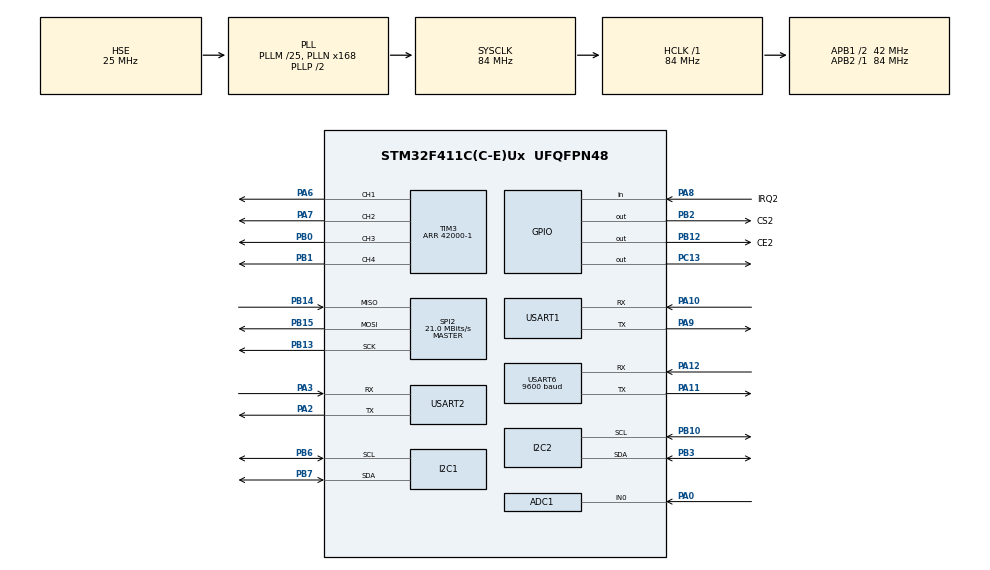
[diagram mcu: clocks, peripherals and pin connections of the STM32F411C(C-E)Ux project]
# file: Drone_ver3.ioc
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ADC1.Channel-0\#ChannelRegularConversion=ADC_CHANNEL_0
ADC1.NbrOfConversionFlag=1
ADC1.Rank-0\#ChannelRegularConversion=1
ADC1.SamplingTime-0\#ChannelRegularConversion=ADC_SAMPLETIME_3CYCLES
ADC1.master=1
Dma.ADC1.0.Direction=DMA_PERIPH_TO_MEMORY
Dma.ADC1.0.FIFOMode=DMA_FIFOMODE_DISABLE
Dma.ADC1.0.Instance=DMA2_Stream0
Dma.ADC1.0.MemDataAlignment=DMA_MDATAALIGN_HALFWORD
Dma.ADC1.0.MemInc=DMA_MINC_ENABLE
Dma.ADC1.0.Mode=DMA_NORMAL
Dma.ADC1.0.PeriphDataAlignment=DMA_PDATAALIGN_HALFWORD
Dma.ADC1.0.PeriphInc=DMA_PINC_DISABLE
Dma.ADC1.0.Priority=DMA_PRIORITY_LOW
Dma.Request0=ADC1
Dma.Request1=USART1_RX
Dma.USART1_RX.1.Direction=DMA_PERIPH_TO_MEMORY
Dma.USART1_RX.1.FIFOMode=DMA_FIFOMODE_DISABLE
Dma.USART1_RX.1.Instance=DMA2_Stream2
Dma.USART1_RX.1.MemDataAlignment=DMA_MDATAALIGN_BYTE
Dma.USART1_RX.1.MemInc=DMA_MINC_ENABLE
Dma.USART1_RX.1.Mode=DMA_NORMAL
Dma.USART1_RX.1.PeriphDataAlignment=DMA_PDATAALIGN_BYTE
Dma.USART1_RX.1.PeriphInc=DMA_PINC_DISABLE
Dma.USART1_RX.1.Priority=DMA_PRIORITY_LOW
FREERTOS.Tasks01=defaultTask,0,128,StartDefaultTask,Default,NULL,Dynamic,NULL,NULL
FREERTOS.configUSE_NEWLIB_REENTRANT=1
Mcu.Family=STM32F4
Mcu.Name=STM32F411C(C-E)Ux
Mcu.Package=UFQFPN48
NVIC.ADC_IRQn=true\:5\:0\:false\:false\:true\:true\:true\:true\:true
NVIC.DMA2_Stream0_IRQn=true\:5\:0\:false\:false\:true\:true\:false\:true\:true
NVIC.DMA2_Stream2_IRQn=true\:5\:0\:false\:false\:true\:true\:false\:true\:true
NVIC.PriorityGroup=NVIC_PRIORITYGROUP_4
NVIC.TIM1_UP_TIM10_IRQn=true\:15\:0\:false\:false\:true\:false\:false\:true\:true
NVIC.TimeBase=TIM1_UP_TIM10_IRQn
NVIC.TimeBaseIP=TIM1
NVIC.USART1_IRQn=true\:5\:0\:false\:false\:true\:true\:true\:true\:true
NVIC.USART2_IRQn=true\:5\:0\:false\:false\:true\:true\:true\:true\:true
NVIC.USART6_IRQn=true\:5\:0\:false\:false\:true\:true\:true\:true\:true
PA0-WKUP.Signal=ADCx_IN0
PA10.Mode=Asynchronous
PA10.Signal=USART1_RX
PA11.Mode=Asynchronous
PA11.Signal=USART6_TX
PA12.Mode=Asynchronous
PA12.Signal=USART6_RX
PA13.Mode=Serial_Wire
PA13.Signal=SYS_JTMS-SWDIO
PA14.Mode=Serial_Wire
PA14.Signal=SYS_JTCK-SWCLK
PA2.Mode=Asynchronous
PA2.Signal=USART2_TX
PA3.Mode=Asynchronous
PA3.Signal=USART2_RX
PA6.Signal=S_TIM3_CH1
PA7.Signal=S_TIM3_CH2
PA8.GPIO_Label=IRQ2
PA8.GPIO_PuPd=GPIO_PULLUP
PA8.Signal=GPIO_Input
PA9.Mode=Asynchronous
PA9.Signal=USART1_TX
PB0.Signal=S_TIM3_CH3
PB1.Signal=S_TIM3_CH4
PB10.Mode=I2C
PB10.Signal=I2C2_SCL
PB12.GPIO_Label=CE2
PB12.Signal=GPIO_Output
PB13.Mode=Full_Duplex_Master
PB13.Signal=SPI2_SCK
PB14.Mode=Full_Duplex_Master
PB14.Signal=SPI2_MISO
PB15.Mode=Full_Duplex_Master
PB15.Signal=SPI2_MOSI
PB2.GPIO_Label=CS2
PB2.Signal=GPIO_Output
PB3.Mode=I2C
PB3.Signal=I2C2_SDA
PB6.Mode=I2C
PB6.Signal=I2C1_SCL
PB7.Mode=I2C
PB7.Signal=I2C1_SDA
PC13-ANTI_TAMP.Signal=GPIO_Output
PH0\ -\ OSC_IN.Mode=HSE-External-Oscillator
PH0\ -\ OSC_IN.Signal=RCC_OSC_IN
PH1\ -\ OSC_OUT.Mode=HSE-External-Oscillator
PH1\ -\ OSC_OUT.Signal=RCC_OSC_OUT
ProjectManager.HeapSize=0x200
ProjectManager.StackSize=0x400
ProjectManager.TargetToolchain=STM32CubeIDE
RCC.48MHZClocksFreq_Value=42000000
RCC.AHBFreq_Value=84000000
RCC.APB1CLKDivider=RCC_HCLK_DIV2
RCC.APB1Freq_Value=42000000
RCC.APB1TimFreq_Value=84000000
RCC.APB2Freq_Value=84000000
RCC.APB2TimFreq_Value=84000000
RCC.CortexFreq_Value=84000000
RCC.HCLKFreq_Value=84000000
RCC.HSE_VALUE=25000000
RCC.HSI_VALUE=16000000
RCC.LSE_VALUE=32768
RCC.PLLM=25
RCC.PLLN=168
RCC.PLLSourceVirtual=RCC_PLLSOURCE_HSE
RCC.SYSCLKFreq_VALUE=84000000
RCC.SYSCLKSource=RCC_SYSCLKSOURCE_PLLCLK
RCC.VCOOutputFreq_Value=168000000
SH.ADCx_IN0.0=ADC1_IN0,IN0
SH.S_TIM3_CH1.0=TIM3_CH1,PWM Generation1 CH1
SH.S_TIM3_CH2.0=TIM3_CH2,PWM Generation2 CH2
SH.S_TIM3_CH3.0=TIM3_CH3,PWM Generation3 CH3
SH.S_TIM3_CH4.0=TIM3_CH4,PWM Generation4 CH4
SPI2.BaudRatePrescaler=SPI_BAUDRATEPRESCALER_2
SPI2.CalculateBaudRate=21.0 MBits/s
SPI2.Direction=SPI_DIRECTION_2LINES
SPI2.Mode=SPI_MODE_MASTER
SPI2.VirtualType=VM_MASTER
TIM3.Channel-PWM\ Generation1\ CH1=TIM_CHANNEL_1
TIM3.Channel-PWM\ Generation2\ CH2=TIM_CHANNEL_2
TIM3.Channel-PWM\ Generation3\ CH3=TIM_CHANNEL_3
TIM3.Channel-PWM\ Generation4\ CH4=TIM_CHANNEL_4
TIM3.Period=42000-1
USART1.VirtualMode=VM_ASYNC
USART2.VirtualMode=VM_ASYNC
USART6.BaudRate=9600
USART6.VirtualMode=VM_ASYNC
VP_FREERTOS_VS_CMSIS_V1.Mode=CMSIS_V1
VP_SYS_VS_tim1.Mode=TIM1
board=custom

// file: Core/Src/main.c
/* USER CODE BEGIN Header */
/**
 ******************************************************************************
 * @file           : main.c
 * @brief          : Main program body
 ******************************************************************************
 * @attention
 *
 * Copyright (c) 2025 STMicroelectronics.
 * All rights reserved.
 *
 * This software is licensed under terms that can be found in the LICENSE file
 * in the root directory of this software component.
 * If no LICENSE file comes with this software, it is provided AS-IS.
 *
 ******************************************************************************
 */
/* USER CODE END Header */
#include "main.h"
#include "cmsis_os.h"

/* USER CODE BEGIN Includes */
#include "nRF24L01.h"
#include "PID.h"
#include "Drone_control.h"
#include "Oneshot125_Esc_Control.h"
#include "bmp180.h"
#include "bno055_stm32.h"
#include "math.h"
#include "stdio.h"
#include "string.h"
#include "stdlib.h"
/* USER CODE END Includes */

/* USER CODE BEGIN PTD */

#define ADC_MAX 4095
#define PWM_MIN 1000 // 1000 us
#define PWM_MAX 2000 // 2000 us
#define DEADZONE 50
#define DEBUG 1
/* USER CODE END PTD */

ADC_HandleTypeDef hadc1;
DMA_HandleTypeDef hdma_adc1;

I2C_HandleTypeDef hi2c1;
I2C_HandleTypeDef hi2c2;

SPI_HandleTypeDef hspi2;

TIM_HandleTypeDef htim3;

UART_HandleTypeDef huart1;
UART_HandleTypeDef huart2;
UART_HandleTypeDef huart6;
DMA_HandleTypeDef hdma_usart1_rx;

osThreadId defaultTaskHandle;
/* USER CODE BEGIN PV */
uint8_t uart2_rx[16];
uint32_t high[4];

uint8_t buff_esc[128];

#ifdef SIMULATION
int pwm;
#endif

uint32_t adc_value;
uint8_t buff_esc[128];

float value[7];
uint8_t TCP_Mess[128];
Motor_speed_Typedef speed;
PIDControllers_Typedef pitch;
PIDControllers_Typedef pitch_rate;
PIDControllers_Typedef roll;
PIDControllers_Typedef roll_rate;
PIDControllers_Typedef yaw;
PIDControllers_Typedef yaw_rate;

Drone_Calculation_Typedef calculation;
Drone_Control_Typedef control;

xTaskHandle ESC_Handle;
xTaskHandle NRF_Handle;
xTaskHandle BNO_Handle;
xTaskHandle BMP_Handle;
xTaskHandle ADC_Handle;
xTaskHandle USB_Handle;
xTaskHandle ZIGBEE_Handle;
xTaskHandle NEO7M_Handle;
xTaskHandle GPS_Handle;
xTaskHandle TCP_Handle;

xQueueHandle xReceivedADC;
xQueueHandle xBNOQueue;
xQueueHandle xBMPQueue;
xQueueHandle xGPSQueue;
xQueueHandle xTCPMessage;

xSemaphoreHandle xAdcSem;
xSemaphoreHandle xUSART1Sem;
xSemaphoreHandle xUSART2Sem;
xSemaphoreHandle xUSART6Sem;

xSemaphoreHandle xTCPSem;

/* USER CODE END PV */

void SystemClock_Config(void);
static void MX_GPIO_Init(void);
static void MX_DMA_Init(void);
static void MX_ADC1_Init(void);
static void MX_I2C1_Init(void);
static void MX_I2C2_Init(void);
static void MX_SPI2_Init(void);
static void MX_TIM3_Init(void);
static void MX_USART1_UART_Init(void);
static void MX_USART2_UART_Init(void);
static void MX_USART6_UART_Init(void);
void StartDefaultTask(void const * argument);

/* USER CODE BEGIN 0 */
void HAL_ADC_ConvCpltCallback(ADC_HandleTypeDef *hadc)
{
  if (hadc->Instance == ADC1)
  {
    BaseType_t xHigherPriorityTaskWoken = pdFALSE;
    xSemaphoreGiveFromISR(xAdcSem, &xHigherPriorityTaskWoken);
    portYIELD_FROM_ISR(xHigherPriorityTaskWoken);
  }
}

void HAL_UART_RxCpltCallback(UART_HandleTypeDef *huart)
{
	if (huart->Instance == USART1)
	{
	BaseType_t xHigherPriorityTaskWoken = pdFALSE;
	xSemaphoreGiveFromISR(xUSART1Sem, &xHigherPriorityTaskWoken);
	portYIELD_FROM_ISR(xHigherPriorityTaskWoken);
	}
  if (huart->Instance == USART2)
  {
    BaseType_t xHigherPriorityTaskWoken = pdFALSE;
    xSemaphoreGiveFromISR(xUSART2Sem, &xHigherPriorityTaskWoken);
    portYIELD_FROM_ISR(xHigherPriorityTaskWoken);
  }
  if (huart->Instance==USART6)
  {
	  BaseType_t xHigherPriorityTaskWoken = pdFALSE;
	  xSemaphoreGiveFromISR(xUSART6Sem, &xHigherPriorityTaskWoken);
	  portYIELD_FROM_ISR(xHigherPriorityTaskWoken);
  }
}

void ESC_Task(void *argument);
void NRF_Task(void *argument);
void BNO_Task(void *argument);
void BMP_Task(void *argument);
void ADC_Task(void *argument);
void USB_UART_Task(void *argument);
void ZIGBEE_Task(void *argument);
void NEO7M_Task(void *argument);
void GPS_DATA_Task(void *argument);
void TCP_Message_Handling_Task(void *argument);
/* USER CODE END 0 */

int main(void)
{

  /* MCU Configuration--------------------------------------------------------*/

  /* Reset of all peripherals, Initializes the Flash interface and the Systick. */
  HAL_Init();

  /* Configure the system clock */
  SystemClock_Config();

  /* Initialize all configured peripherals */
  MX_GPIO_Init();
  MX_DMA_Init();
  MX_ADC1_Init();
  MX_I2C1_Init();
  MX_I2C2_Init();
  MX_SPI2_Init();
  MX_TIM3_Init();
  MX_USART1_UART_Init();
  MX_USART2_UART_Init();
  MX_USART6_UART_Init();
  /* USER CODE BEGIN 2 */
  HAL_GPIO_WritePin(GPIOC, GPIO_PIN_13, 1);
  float sample = powf(10, -3);
  pidControllersInit(&yaw, 0, 0, 0, 0.1, sample, 360,-360);
  pidControllersInit(&yaw_rate, 0, 0, 0, 0.1, sample, 1500, -1500);
  pidControllersInit(&pitch, 0, 0, 0, 0.1, sample, 10, -10);
  pidControllersInit(&pitch_rate, 0, 0, 0, 0.1, sample, 1500, -1500);
  pidControllersInit(&roll, 0, 0, 0, 0.1, sample, 10, -10);
  pidControllersInit(&roll_rate, 0,0, 0, 0.1, sample, 1500, -1500);

  /* USER CODE END 2 */

  /* USER CODE BEGIN RTOS_SEMAPHORES */
  /* add semaphores, ... */
  xAdcSem = xSemaphoreCreateBinary();
  xUSART1Sem = xSemaphoreCreateBinary();
  xUSART2Sem = xSemaphoreCreateBinary();
  xUSART6Sem = xSemaphoreCreateBinary();
  xTCPSem = xSemaphoreCreateMutex();
  /* USER CODE END RTOS_SEMAPHORES */

  /* USER CODE BEGIN RTOS_TIMERS */
  /* start timers, add new ones, ... */
  xReceivedADC = xQueueCreate(4, sizeof(uint32_t));
  xBNOQueue = xQueueCreate(2, sizeof(bno055_vector_t));
  xBMPQueue = xQueueCreate(1, sizeof(float));
  xGPSQueue = xQueueCreate(128,sizeof(uint8_t));
  xTCPMessage = xQueueCreate(128,sizeof(uint8_t));

  /* USER CODE END RTOS_TIMERS */

  /* Create the thread(s) */
  /* definition and creation of defaultTask */
  osThreadDef(defaultTask, StartDefaultTask, osPriorityNormal, 0, 128);
  defaultTaskHandle = osThreadCreate(osThread(defaultTask), NULL);

  /* USER CODE BEGIN RTOS_THREADS */
  /* add threads, ... */
  xTaskCreate(ESC_Task, "ESC", 512, NULL, 2, &ESC_Handle);
  xTaskCreate(TCP_Message_Handling_Task,"TCP",512,NULL,1,&TCP_Handle);
  xTaskCreate(BNO_Task, "BNO", 256, NULL, 1, &BNO_Handle);
  xTaskCreate(BMP_Task, "BMP", 256, NULL, 1, &BMP_Handle);
  xTaskCreate(ADC_Task, "ADC", 256, NULL, 1, &ADC_Handle);
  xTaskCreate(USB_UART_Task, "USB", 512, NULL, 2, &USB_Handle);
  xTaskCreate(ZIGBEE_Task, "ZIGBEE", 256, NULL, 2, &ZIGBEE_Handle);
  xTaskCreate(NEO7M_Task, "NEO7M", 256, NULL, 2, &NEO7M_Handle);
  xTaskCreate(GPS_DATA_Task, "GPS", 256, NULL, 0, &GPS_Handle);

  /* USER CODE END RTOS_THREADS */

  /* Start scheduler */
  osKernelStart();

  /* We should never get here as control is now taken by the scheduler */

  /* Infinite loop */
  while (1)
  {

  }
}

void SystemClock_Config(void)
{
  RCC_OscInitTypeDef RCC_OscInitStruct = {0};
  RCC_ClkInitTypeDef RCC_ClkInitStruct = {0};

  /** Configure the main internal regulator output voltage
  */
  __HAL_RCC_PWR_CLK_ENABLE();
  __HAL_PWR_VOLTAGESCALING_CONFIG(PWR_REGULATOR_VOLTAGE_SCALE1);

  /** Initializes the RCC Oscillators according to the specified parameters
  * in the RCC_OscInitTypeDef structure.
  */
  RCC_OscInitStruct.OscillatorType = RCC_OSCILLATORTYPE_HSE;
  RCC_OscInitStruct.HSEState = RCC_HSE_ON;
  RCC_OscInitStruct.PLL.PLLState = RCC_PLL_ON;
  RCC_OscInitStruct.PLL.PLLSource = RCC_PLLSOURCE_HSE;
  RCC_OscInitStruct.PLL.PLLM = 25;
  RCC_OscInitStruct.PLL.PLLN = 168;
  RCC_OscInitStruct.PLL.PLLP = RCC_PLLP_DIV2;
  RCC_OscInitStruct.PLL.PLLQ = 4;
  if (HAL_RCC_OscConfig(&RCC_OscInitStruct) != HAL_OK)
  {
    Error_Handler();
  }

  /** Initializes the CPU, AHB and APB buses clocks
  */
  RCC_ClkInitStruct.ClockType = RCC_CLOCKTYPE_HCLK|RCC_CLOCKTYPE_SYSCLK
                              |RCC_CLOCKTYPE_PCLK1|RCC_CLOCKTYPE_PCLK2;
  RCC_ClkInitStruct.SYSCLKSource = RCC_SYSCLKSOURCE_PLLCLK;
  RCC_ClkInitStruct.AHBCLKDivider = RCC_SYSCLK_DIV1;
  RCC_ClkInitStruct.APB1CLKDivider = RCC_HCLK_DIV2;
  RCC_ClkInitStruct.APB2CLKDivider = RCC_HCLK_DIV1;

  if (HAL_RCC_ClockConfig(&RCC_ClkInitStruct, FLASH_LATENCY_2) != HAL_OK)
  {
    Error_Handler();
  }
}

static void MX_ADC1_Init(void)
{

  ADC_ChannelConfTypeDef sConfig = {0};

  /** Configure the global features of the ADC (Clock, Resolution, Data Alignment and number of conversion)
  */
  hadc1.Instance = ADC1;
  hadc1.Init.ClockPrescaler = ADC_CLOCK_SYNC_PCLK_DIV4;
  hadc1.Init.Resolution = ADC_RESOLUTION_12B;
  hadc1.Init.ScanConvMode = DISABLE;
  hadc1.Init.ContinuousConvMode = DISABLE;
  hadc1.Init.DiscontinuousConvMode = DISABLE;
  hadc1.Init.ExternalTrigConvEdge = ADC_EXTERNALTRIGCONVEDGE_NONE;
  hadc1.Init.ExternalTrigConv = ADC_SOFTWARE_START;
  hadc1.Init.DataAlign = ADC_DATAALIGN_RIGHT;
  hadc1.Init.NbrOfConversion = 1;
  hadc1.Init.DMAContinuousRequests = DISABLE;
  hadc1.Init.EOCSelection = ADC_EOC_SINGLE_CONV;
  if (HAL_ADC_Init(&hadc1) != HAL_OK)
  {
    Error_Handler();
  }

  /** Configure for the selected ADC regular channel its corresponding rank in the sequencer and its sample time.
  */
  sConfig.Channel = ADC_CHANNEL_0;
  sConfig.Rank = 1;
  sConfig.SamplingTime = ADC_SAMPLETIME_3CYCLES;
  if (HAL_ADC_ConfigChannel(&hadc1, &sConfig) != HAL_OK)
  {
    Error_Handler();
  }

}

static void MX_I2C1_Init(void)
{

  hi2c1.Instance = I2C1;
  hi2c1.Init.ClockSpeed = 100000;
  hi2c1.Init.DutyCycle = I2C_DUTYCYCLE_2;
  hi2c1.Init.OwnAddress1 = 0;
  hi2c1.Init.AddressingMode = I2C_ADDRESSINGMODE_7BIT;
  hi2c1.Init.DualAddressMode = I2C_DUALADDRESS_DISABLE;
  hi2c1.Init.OwnAddress2 = 0;
  hi2c1.Init.GeneralCallMode = I2C_GENERALCALL_DISABLE;
  hi2c1.Init.NoStretchMode = I2C_NOSTRETCH_DISABLE;
  if (HAL_I2C_Init(&hi2c1) != HAL_OK)
  {
    Error_Handler();
  }

}

static void MX_I2C2_Init(void)
{

  hi2c2.Instance = I2C2;
  hi2c2.Init.ClockSpeed = 100000;
  hi2c2.Init.DutyCycle = I2C_DUTYCYCLE_2;
  hi2c2.Init.OwnAddress1 = 0;
  hi2c2.Init.AddressingMode = I2C_ADDRESSINGMODE_7BIT;
  hi2c2.Init.DualAddressMode = I2C_DUALADDRESS_DISABLE;
  hi2c2.Init.OwnAddress2 = 0;
  hi2c2.Init.GeneralCallMode = I2C_GENERALCALL_DISABLE;
  hi2c2.Init.NoStretchMode = I2C_NOSTRETCH_DISABLE;
  if (HAL_I2C_Init(&hi2c2) != HAL_OK)
  {
    Error_Handler();
  }

}

static void MX_SPI2_Init(void)
{

  /* SPI2 parameter configuration*/
  hspi2.Instance = SPI2;
  hspi2.Init.Mode = SPI_MODE_MASTER;
  hspi2.Init.Direction = SPI_DIRECTION_2LINES;
  hspi2.Init.DataSize = SPI_DATASIZE_8BIT;
  hspi2.Init.CLKPolarity = SPI_POLARITY_LOW;
  hspi2.Init.CLKPhase = SPI_PHASE_1EDGE;
  hspi2.Init.NSS = SPI_NSS_SOFT;
  hspi2.Init.BaudRatePrescaler = SPI_BAUDRATEPRESCALER_2;
  hspi2.Init.FirstBit = SPI_FIRSTBIT_MSB;
  hspi2.Init.TIMode = SPI_TIMODE_DISABLE;
  hspi2.Init.CRCCalculation = SPI_CRCCALCULATION_DISABLE;
  hspi2.Init.CRCPolynomial = 10;
  if (HAL_SPI_Init(&hspi2) != HAL_OK)
  {
    Error_Handler();
  }

}

static void MX_TIM3_Init(void)
{

  TIM_MasterConfigTypeDef sMasterConfig = {0};
  TIM_OC_InitTypeDef sConfigOC = {0};

  htim3.Instance = TIM3;
  htim3.Init.Prescaler = 0;
  htim3.Init.CounterMode = TIM_COUNTERMODE_UP;
  htim3.Init.Period = 42000-1;
  htim3.Init.ClockDivision = TIM_CLOCKDIVISION_DIV1;
  htim3.Init.AutoReloadPreload = TIM_AUTORELOAD_PRELOAD_DISABLE;
  if (HAL_TIM_PWM_Init(&htim3) != HAL_OK)
  {
    Error_Handler();
  }
  sMasterConfig.MasterOutputTrigger = TIM_TRGO_RESET;
  sMasterConfig.MasterSlaveMode = TIM_MASTERSLAVEMODE_DISABLE;
  if (HAL_TIMEx_MasterConfigSynchronization(&htim3, &sMasterConfig) != HAL_OK)
  {
    Error_Handler();
  }
  sConfigOC.OCMode = TIM_OCMODE_PWM1;
  sConfigOC.Pulse = 0;
  sConfigOC.OCPolarity = TIM_OCPOLARITY_HIGH;
  sConfigOC.OCFastMode = TIM_OCFAST_DISABLE;
  if (HAL_TIM_PWM_ConfigChannel(&htim3, &sConfigOC, TIM_CHANNEL_1) != HAL_OK)
  {
    Error_Handler();
  }
  if (HAL_TIM_PWM_ConfigChannel(&htim3, &sConfigOC, TIM_CHANNEL_2) != HAL_OK)
  {
    Error_Handler();
  }
  if (HAL_TIM_PWM_ConfigChannel(&htim3, &sConfigOC, TIM_CHANNEL_3) != HAL_OK)
  {
    Error_Handler();
  }
  if (HAL_TIM_PWM_ConfigChannel(&htim3, &sConfigOC, TIM_CHANNEL_4) != HAL_OK)
  {
    Error_Handler();
  }
  HAL_TIM_MspPostInit(&htim3);

}

static void MX_USART1_UART_Init(void)
{

  huart1.Instance = USART1;
  huart1.Init.BaudRate = 115200;
  huart1.Init.WordLength = UART_WORDLENGTH_8B;
  huart1.Init.StopBits = UART_STOPBITS_1;
  huart1.Init.Parity = UART_PARITY_NONE;
  huart1.Init.Mode = UART_MODE_TX_RX;
  huart1.Init.HwFlowCtl = UART_HWCONTROL_NONE;
  huart1.Init.OverSampling = UART_OVERSAMPLING_16;
  if (HAL_UART_Init(&huart1) != HAL_OK)
  {
    Error_Handler();
  }

}

static void MX_USART2_UART_Init(void)
{

  huart2.Instance = USART2;
  huart2.Init.BaudRate = 115200;
  huart2.Init.WordLength = UART_WORDLENGTH_8B;
  huart2.Init.StopBits = UART_STOPBITS_1;
  huart2.Init.Parity = UART_PARITY_NONE;
  huart2.Init.Mode = UART_MODE_TX_RX;
  huart2.Init.HwFlowCtl = UART_HWCONTROL_NONE;
  huart2.Init.OverSampling = UART_OVERSAMPLING_16;
  if (HAL_UART_Init(&huart2) != HAL_OK)
  {
    Error_Handler();
  }

}

static void MX_USART6_UART_Init(void)
{

  huart6.Instance = USART6;
  huart6.Init.BaudRate = 9600;
  huart6.Init.WordLength = UART_WORDLENGTH_8B;
  huart6.Init.StopBits = UART_STOPBITS_1;
  huart6.Init.Parity = UART_PARITY_NONE;
  huart6.Init.Mode = UART_MODE_TX_RX;
  huart6.Init.HwFlowCtl = UART_HWCONTROL_NONE;
  huart6.Init.OverSampling = UART_OVERSAMPLING_16;
  if (HAL_UART_Init(&huart6) != HAL_OK)
  {
    Error_Handler();
  }

}

static void MX_DMA_Init(void)
{

  /* DMA controller clock enable */
  __HAL_RCC_DMA2_CLK_ENABLE();

  /* DMA interrupt init */
  /* DMA2_Stream0_IRQn interrupt configuration */
  HAL_NVIC_SetPriority(DMA2_Stream0_IRQn, 5, 0);
  HAL_NVIC_EnableIRQ(DMA2_Stream0_IRQn);
  /* DMA2_Stream2_IRQn interrupt configuration */
  HAL_NVIC_SetPriority(DMA2_Stream2_IRQn, 5, 0);
  HAL_NVIC_EnableIRQ(DMA2_Stream2_IRQn);

}

static void MX_GPIO_Init(void)
{
  GPIO_InitTypeDef GPIO_InitStruct = {0};

  /* GPIO Ports Clock Enable */
  __HAL_RCC_GPIOC_CLK_ENABLE();
  __HAL_RCC_GPIOH_CLK_ENABLE();
  __HAL_RCC_GPIOA_CLK_ENABLE();
  __HAL_RCC_GPIOB_CLK_ENABLE();

  /*Configure GPIO pin Output Level */
  HAL_GPIO_WritePin(GPIOC, GPIO_PIN_13, GPIO_PIN_RESET);

  /*Configure GPIO pin Output Level */
  HAL_GPIO_WritePin(GPIOB, CS2_Pin|CE2_Pin, GPIO_PIN_RESET);

  /*Configure GPIO pin : PC13 */
  GPIO_InitStruct.Pin = GPIO_PIN_13;
  GPIO_InitStruct.Mode = GPIO_MODE_OUTPUT_PP;
  GPIO_InitStruct.Pull = GPIO_NOPULL;
  GPIO_InitStruct.Speed = GPIO_SPEED_FREQ_LOW;
  HAL_GPIO_Init(GPIOC, &GPIO_InitStruct);

  /*Configure GPIO pins : CS2_Pin CE2_Pin */
  GPIO_InitStruct.Pin = CS2_Pin|CE2_Pin;
  GPIO_InitStruct.Mode = GPIO_MODE_OUTPUT_PP;
  GPIO_InitStruct.Pull = GPIO_NOPULL;
  GPIO_InitStruct.Speed = GPIO_SPEED_FREQ_LOW;
  HAL_GPIO_Init(GPIOB, &GPIO_InitStruct);

  /*Configure GPIO pin : IRQ2_Pin */
  GPIO_InitStruct.Pin = IRQ2_Pin;
  GPIO_InitStruct.Mode = GPIO_MODE_INPUT;
  GPIO_InitStruct.Pull = GPIO_PULLUP;
  HAL_GPIO_Init(IRQ2_GPIO_Port, &GPIO_InitStruct);

}

/* USER CODE BEGIN 4 */
void ESC_Task(void *argument)
{
bno055_vector_t euler, gyro;
  float altitude;

  HAL_TIM_PWM_Start(&htim3, TIM_CHANNEL_1);
  HAL_TIM_PWM_Start(&htim3, TIM_CHANNEL_2);
  HAL_TIM_PWM_Start(&htim3, TIM_CHANNEL_3);
  HAL_TIM_PWM_Start(&htim3, TIM_CHANNEL_4);
  Calibration_RTOS(&htim3);
  while (1)
  {

    if (xQueueReceive(xBNOQueue, &euler, portMAX_DELAY) == pdTRUE)
    {
    }
    if (xQueueReceive(xBNOQueue, &gyro, portMAX_DELAY) == pdTRUE)
    {
    }
    if (xQueueReceive(xBMPQueue, &altitude, portMAX_DELAY) == pdTRUE)
    {
    }

    if(TCP_Mess[0]=='W')
   		{
   			roll.expected=roll.expected+0.1f;
   		}
   		else if(TCP_Mess[0]=='S')
   		{
   			yaw.expected=yaw.expected-0.1f;
   		}
   		else if(TCP_Mess[0]=='A')
   		{
   			yaw.expected=yaw.expected+0.1f;
   		}
   		else if(TCP_Mess[0]=='D')
   		{
   			roll.expected=roll.expected-0.1f;
   		}
    xSemaphoreTake(xTCPSem,portMAX_DELAY);
    pidUpdate(&pitch, euler.z, pitch.expected);
    calculation.picth_rate_reference = pitch.u;
    pidUpdate(&pitch_rate, gyro.z, calculation.picth_rate_reference);
    pidUpdate(&roll, euler.y,  roll.expected);
    calculation.roll_rate_reference=roll.u;
    pidUpdate(&roll_rate, gyro.y, calculation.roll_rate_reference);
    pidUpdate(&yaw, euler.x, yaw.expected);
    calculation.yaw_rate_reference = yaw.u;
    pidUpdate(&yaw_rate, gyro.x, calculation.yaw_rate_reference);

#if DEBUG ==1
    speed.speed1 = high[0] - (uint32_t)pitch_rate.u + (uint32_t)roll_rate.u - (uint32_t)yaw_rate.u;
    speed.speed2 = high[1] + (uint32_t)pitch_rate.u + (uint32_t)roll_rate.u + (uint32_t)yaw_rate.u;
    speed.speed3 = high[2] + (uint32_t)pitch_rate.u - (uint32_t)roll_rate.u - (uint32_t)yaw_rate.u;
    speed.speed4 = high[3] - (uint32_t)pitch_rate.u - (uint32_t)roll_rate.u + (uint32_t)yaw_rate.u;
#else
    speed.speed1 = 2000;
	speed.speed2 = 2000;
	speed.speed3 = 2000;
	speed.speed4 = 2000;
#endif
    Control4Motor(&htim3, &speed);
    sprintf((char*)buff_esc,"%f/%f/%f\n",euler.y,euler.z,euler.x);
    HAL_UART_Transmit(&huart1, buff_esc, 128,10);
	xSemaphoreGive(xTCPSem);
    vTaskDelay(pdMS_TO_TICKS(1));
  }
}

void BNO_Task(void *argument)
{
  bno055_vector_t euler_t, gyro_t;
  bno055_assignI2C(&hi2c1);
  bno055_setup();
  bno055_setOperationModeNDOF();
  while (1)
  {
    gyro_t = bno055_getVectorGyroscope();
    euler_t = bno055_getVectorEuler();
    xQueueSend(xBNOQueue, &euler_t, portMAX_DELAY);
    xQueueSend(xBNOQueue, &gyro_t, portMAX_DELAY);
    vTaskDelay(pdMS_TO_TICKS(10));
  }
}

void BMP_Task(void *argument)
{
  BMP180_Handle_t bmp180;
  float altitude_t;
  if (BMP180_Init(&bmp180, &hi2c2, 3) != HAL_OK) // OSS = 3 (highest resolution)
  {
  }
  while (1)
  {
    altitude_t = BMP180_ReadAltitude(&bmp180, BMP180_STD_ATM_PRESS); // 101325 Pa
    xQueueSend(xBMPQueue, &altitude_t, portMAX_DELAY);
    vTaskDelay(pdMS_TO_TICKS(10));
  }
}

void ADC_Task(void *argument)
{
  HAL_ADC_Start_DMA(&hadc1, &adc_value, 1);
  while (1)
  {
    if (xSemaphoreTake(xAdcSem, portMAX_DELAY) == pdTRUE)
    {
      HAL_ADC_Start_DMA(&hadc1, &adc_value, 1);
    }
  }
}

void ZIGBEE_Task(void *argument)
{

  HAL_UART_Receive_IT(&huart2, uart2_rx, 16);
  while (1)
  {
    if (xSemaphoreTake(xUSART2Sem, portMAX_DELAY) == pdTRUE)
    {
      HAL_UART_Receive_IT(&huart2, uart2_rx, 16);
    }
  }
}

void USB_UART_Task(void *argument)
{
	uint8_t uart1_rx[128];
	uint8_t buffer;
	HAL_UART_Receive_IT(&huart1, &buffer, 1);
	static int i=0;
	while(1)
	{
		if (xSemaphoreTake(xUSART1Sem, portMAX_DELAY) == pdTRUE)
		{

			if(buffer=='\n' || i==127)
			{
				i=0;
				buffer=0;
				int a=strlen((char*)uart1_rx);
				for(int u=0;u<128;u++)
				{
					xQueueSend(xTCPMessage,uart1_rx+u,portMAX_DELAY);
				}
				for(int u=0;u<a;u++)
				{
					uart1_rx[u]=0;
				}
				goto reset;
			}
			memcpy(uart1_rx+i,&buffer,1);
			i++;
			reset:
			HAL_UART_Receive_IT(&huart1, &buffer, 1);
		}
	}
}

void NEO7M_Task(void *argument)
{

	uint8_t i=0;
	uint8_t a;
	uint8_t uart6_rx[128];
	uint8_t buffer;
	uint8_t MessageID[6];
	uint8_t NeededID[]="$GPRMC";
	HAL_UART_Receive_IT(&huart6, &buffer, 1);
	while (1)
	{
		if (xSemaphoreTake(xUSART6Sem, portMAX_DELAY) == pdTRUE)
		{
			if(buffer=='\n')
			{
				i=0;
				a=strlen((char*)uart6_rx);
				memcpy(MessageID,uart6_rx,6);
				if(strcmp((char*)MessageID,(char*)NeededID))
				{
					for(int u=0;u<128;u++)
					{
						xQueueSend(xGPSQueue,MessageID+u,portMAX_DELAY);
					}
				}
				for(int u=0;u<a;u++)
				{
					uart6_rx[u]=0;
				}
				goto Init_Interupt;
			}
			memcpy(uart6_rx+i,&buffer,1);
			i++;
Init_Interupt:
			HAL_UART_Receive_IT(&huart6, &buffer, 1);

		}
	}

}

void GPS_DATA_Task(void *argument)
{
	while(1)
	{

	}
}

void TCP_Message_Handling_Task(void *argument)
{

	uint8_t *string=malloc(sizeof(char)*30);
	while(1)
	{
		for(int i=0;i<128;i++)
		{
			if (xQueueReceive(xTCPMessage, TCP_Mess+i, portMAX_DELAY) == pdTRUE)
			{

			}
		}
		xSemaphoreTake(xTCPSem,portMAX_DELAY);
		int count_string=0;
		int track_string=0;
		for(int i=1;i<128;i++)
		{
			if(TCP_Mess[i]!='/'&&TCP_Mess[i]!=0&&count_string<=7&&track_string<30)
			{
				string[track_string]=TCP_Mess[i];
				track_string++;
			}
			else if((TCP_Mess[i]=='/'||TCP_Mess[i]==0)&&count_string<7&&track_string<30)
			{
				value[count_string]=atof((char*)string);
				count_string++;
				track_string=0;
				memset(string,0,30);
			}
			else if(track_string>=30)
			{
				goto escape_function;
			}
			if (count_string>=7||TCP_Mess[i]==0)
			{
				break;
			}
		}
		if(TCP_Mess[0]=='R')
		{
			AdjustPIDParams(&roll, value+1,value+2, value+3);
			calculation.roll_reference=value[0];
			AdjustPIDParams(&roll_rate, value+4, value+5, value+6);
		}
		else if(TCP_Mess[0]=='P')
		{
			AdjustPIDParams(&pitch, value+1,value+2, value+3);
			calculation.picth_reference=value[0];
			AdjustPIDParams(&pitch_rate, value+4, value+5, value+6);
		}
		else if(TCP_Mess[0]=='Y')
		{
			AdjustPIDParams(&yaw , value+1,value+2, value+3);
			calculation.yaw_reference=value[0];
			AdjustPIDParams(&yaw_rate, value+4, value+5, value+6);
		}
		else if(TCP_Mess[0]=='H')
		{
			for(int i=0;i<4;i++)
			{
				high[i]=value[i];
			}
		}
		else if(TCP_Mess[0]=='C')
		{
			HAL_UART_Transmit(&huart1,(uint8_t*) "A", 1, 1);
		}

		escape_function:
		xSemaphoreGive(xTCPSem);

	}
}
/* USER CODE END 4 */

void StartDefaultTask(void const * argument)
{
  /* USER CODE BEGIN 5 */
  /* Infinite loop */
  for (;;)
  {
    HAL_GPIO_TogglePin(GPIOC, GPIO_PIN_13);
    osDelay(500);
  }
  /* USER CODE END 5 */
}

void HAL_TIM_PeriodElapsedCallback(TIM_HandleTypeDef *htim)
{
  if (htim->Instance == TIM1)
  {
    HAL_IncTick();
  }
}

void Error_Handler(void)
{
  __disable_irq();
  while (1)
  {
  }
}
